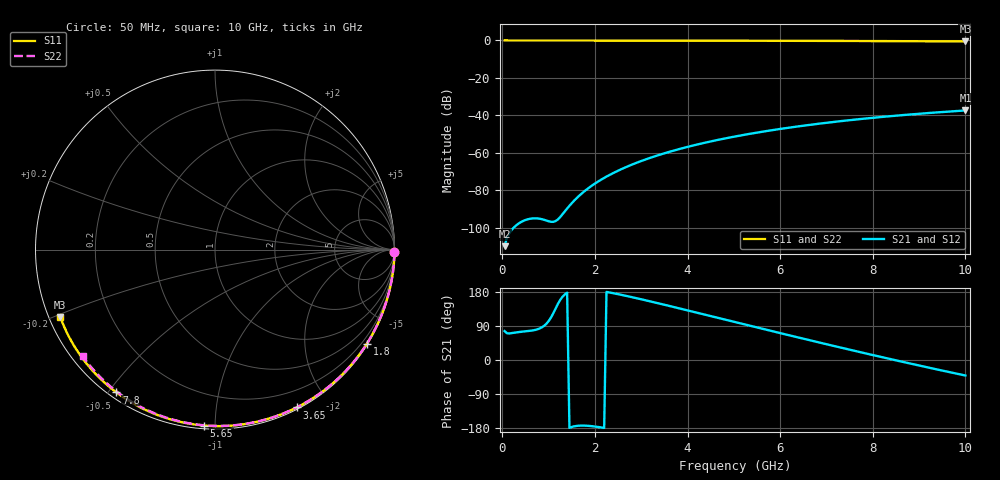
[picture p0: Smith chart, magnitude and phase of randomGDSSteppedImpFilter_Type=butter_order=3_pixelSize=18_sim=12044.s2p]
! freq	dB(S11)	phase(S11)	dB(S12)	phase(S12)
!  dB(S21)	phase(S21)	dB(S22)	phase(S22)
!S-par simulation data
#  GHz  S  DB  R 50
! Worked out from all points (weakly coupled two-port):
!   200 points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, 50 MHz to 10 GHz, reference 50 ohm
!   highest |S21| = -37.33 dB at 10 GHz (marker M1); lowest = -109.7 dB at 50 MHz (marker M2)
!   lowest |S11| = -0.5 dB at 10 GHz (marker M3), VSWR 32.51, Z = 1.6 - j10.4 ohm
!   |S11| at or under -10 dB: nowhere
!   |S22| runs from -0.5 to 0.0 dB; largest |S21 - S12| = 0
!   S11 on the Smith chart (normalised r, x): 50 MHz: open; 1.8 GHz: 0.03, -3.52; 3.65 GHz: 0.02, -1.64; 5.65 GHz: 0.02, -0.94; 7.8 GHz: 0.02, -0.52; 10 GHz: 0.03, -0.21
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0.05  -0.00 -0.9  -109.71 76.2  -109.71 76.2  -0.00 -0.8
0.85  -0.02 -15.2  -95.29 85.9  -95.29 85.9  -0.02 -13.8
1.3  -0.03 -23.1  -92.71 166.8  -92.71 166.8  -0.03 -21.0
1.75  -0.04 -30.9  -80.88 -173.1  -80.88 -173.1  -0.04 -28.1
1.8  -0.04 -31.7  -79.89 -173.3  -79.89 -173.3  -0.04 -28.9
1.95  -0.04 -34.3  -77.16 -174.8  -77.16 -174.8  -0.04 -31.3
2.1  -0.05 -36.9  -74.75 -177.3  -74.75 -177.3  -0.04 -33.6
2.3  -0.05 -40.3  -71.94 178.5  -71.94 178.5  -0.05 -36.7
2.5  -0.06 -43.7  -69.45 173.7  -69.45 173.7  -0.05 -39.8
2.9  -0.07 -50.4  -65.23 163.1  -65.23 163.1  -0.06 -45.9
3.4  -0.08 -58.6  -60.94 148.8  -60.94 148.8  -0.07 -53.5
3.65  -0.08 -62.6  -59.09 141.4  -59.09 141.4  -0.08 -57.2
4.3  -0.10 -73.0  -54.96 121.9  -54.96 121.9  -0.09 -66.7
5.05  -0.13 -84.5  -51.11 99.4  -51.11 99.4  -0.12 -77.3
5.65  -0.16 -93.6  -48.53 81.4  -48.53 81.4  -0.14 -85.6
6.15  -0.18 -100.9  -46.66 66.5  -46.66 66.5  -0.16 -92.3
6.7  -0.21 -108.9  -44.82 50.4  -44.82 50.4  -0.19 -99.6
7.25  -0.25 -116.8  -43.19 34.4  -43.19 34.4  -0.23 -106.7
7.8  -0.29 -124.6  -41.74 18.7  -41.74 18.7  -0.26 -113.7
8.35  -0.34 -132.4  -40.45 3.3  -40.45 3.3  -0.31 -120.6
9.2  -0.43 -144.6  -38.71 -20.0  -38.71 -20.0  -0.39 -131.2
10  -0.53 -156.5  -37.33 -41.0  -37.33 -41.0  -0.48 -141.1
